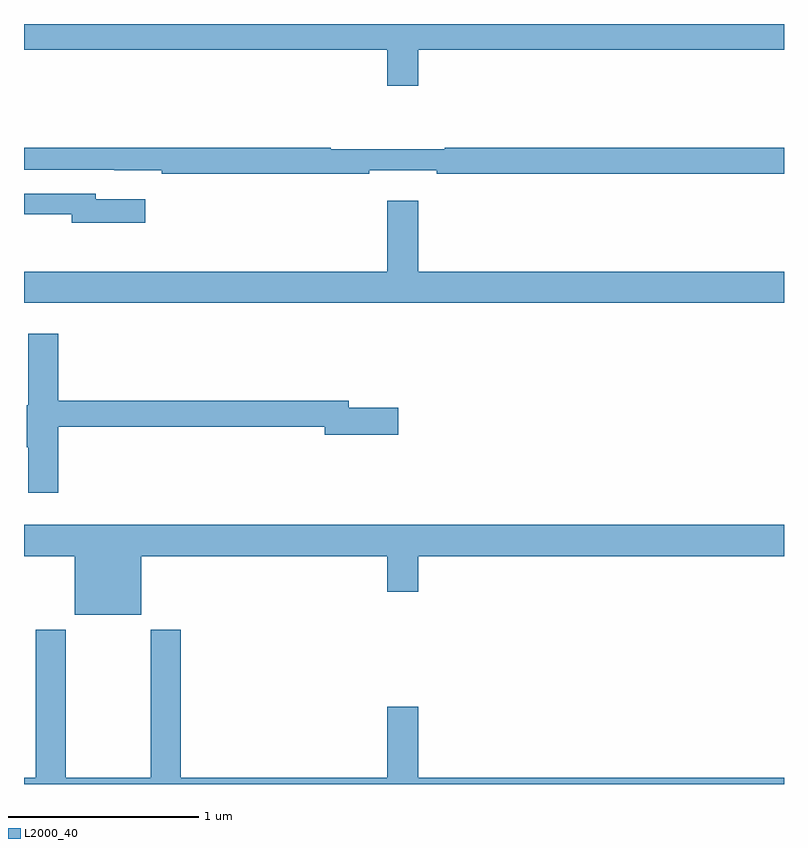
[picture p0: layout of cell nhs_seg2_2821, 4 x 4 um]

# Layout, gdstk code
import gdstk
lib = gdstk.Library(unit=1e-6, precision=1e-09)
def P(c, l, *ps):  # polygons
    for p in ps: c.add(gdstk.Polygon(p, *l))
L2000_40 = (2000, 40)

nhs_seg2_2821 = lib.new_cell('nhs_seg2_2821')
P(nhs_seg2_2821, L2000_40, [(261.076,619.664),(263,619.664),(263,619.8),(259,619.8),(259,619.664),(260.912,619.664),(260.912,619.476),(261.076,619.476)],
  [(260.816,619.031),(261.172,619.031),(261.172,619.012),(263,619.012),(263,619.148),(261.214,619.148),(261.214,619.141),(260.614,619.141),(260.614,619.148),(259,619.148),(259,619.032),(259.474,619.032),(259.474,619.031),(259.726,619.031),(259.726,619.012),(260.816,619.012)],
  [(259.639,618.877),(259.378,618.877),(259.378,618.906),(259,618.906),(259,618.798),(259.25,618.798),(259.25,618.755),(259.639,618.755)],
  [(263,618.496),(261.076,618.496),(261.076,618.871),(260.912,618.871),(260.912,618.496),(259,618.496),(259,618.332),(263,618.332)],
  [(259.181,617.68),(260.582,617.68),(260.582,617.638),(260.971,617.638),(260.971,617.78),(260.71,617.78),(260.71,617.816),(259.181,617.816),(259.181,618.169),(259.022,618.169),(259.022,617.793),(259.015,617.793),(259.015,617.572),(259.022,617.572),(259.022,617.334),(259.181,617.334)],
  [(259.618,617),(260.912,617),(260.912,616.812),(261.076,616.812),(261.076,617),(263,617),(263,617.164),(259,617.164),(259,617),(259.268,617),(259.268,616.691),(259.618,616.691)],
  [(263,615.832),(261.076,615.832),(261.076,616.207),(260.912,616.207),(260.912,615.832),(259.826,615.832),(259.826,616.612),(259.666,616.612),(259.666,615.832),(259.221,615.832),(259.221,616.612),(259.061,616.612),(259.061,615.832),(259,615.832),(259,615.8),(263,615.8)])

lib.write_gds('nhs_seg2_2821.gds')
